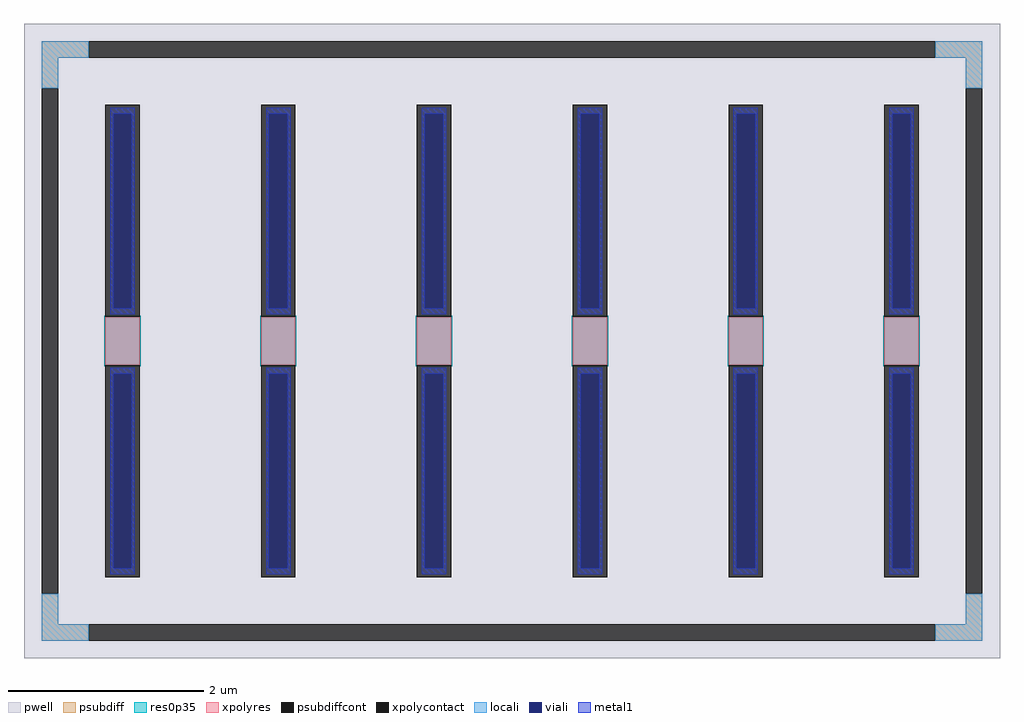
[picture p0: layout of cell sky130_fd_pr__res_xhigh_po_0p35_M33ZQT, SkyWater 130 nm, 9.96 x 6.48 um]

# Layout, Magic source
magic
tech sky130B
magscale 1 2
<< pwell >>
rect -996 -648 996 648
<< psubdiff >>
rect -960 578 -864 612
rect 864 578 960 612
rect -960 516 -926 578
rect 926 516 960 578
rect -960 -578 -926 -516
rect 926 -578 960 -516
rect -960 -612 -864 -578
rect 864 -612 960 -578
<< psubdiffcont >>
rect -864 578 864 612
rect -960 -516 -926 516
rect 926 -516 960 516
rect -864 -612 864 -578
<< xpolycontact >>
rect -830 50 -760 482
rect -830 -482 -760 -50
rect -512 50 -442 482
rect -512 -482 -442 -50
rect -194 50 -124 482
rect -194 -482 -124 -50
rect 124 50 194 482
rect 124 -482 194 -50
rect 442 50 512 482
rect 442 -482 512 -50
rect 760 50 830 482
rect 760 -482 830 -50
<< xpolyres >>
rect -830 -50 -760 50
rect -512 -50 -442 50
rect -194 -50 -124 50
rect 124 -50 194 50
rect 442 -50 512 50
rect 760 -50 830 50
<< locali >>
rect -960 578 -864 612
rect 864 578 960 612
rect -960 516 -926 578
rect 926 516 960 578
rect -960 -578 -926 -516
rect 926 -578 960 -516
rect -960 -612 -864 -578
rect 864 -612 960 -578
<< viali >>
rect -814 67 -776 464
rect -496 67 -458 464
rect -178 67 -140 464
rect 140 67 178 464
rect 458 67 496 464
rect 776 67 814 464
rect -814 -464 -776 -67
rect -496 -464 -458 -67
rect -178 -464 -140 -67
rect 140 -464 178 -67
rect 458 -464 496 -67
rect 776 -464 814 -67
<< metal1 >>
rect -820 464 -770 476
rect -820 67 -814 464
rect -776 67 -770 464
rect -820 55 -770 67
rect -502 464 -452 476
rect -502 67 -496 464
rect -458 67 -452 464
rect -502 55 -452 67
rect -184 464 -134 476
rect -184 67 -178 464
rect -140 67 -134 464
rect -184 55 -134 67
rect 134 464 184 476
rect 134 67 140 464
rect 178 67 184 464
rect 134 55 184 67
rect 452 464 502 476
rect 452 67 458 464
rect 496 67 502 464
rect 452 55 502 67
rect 770 464 820 476
rect 770 67 776 464
rect 814 67 820 464
rect 770 55 820 67
rect -820 -67 -770 -55
rect -820 -464 -814 -67
rect -776 -464 -770 -67
rect -820 -476 -770 -464
rect -502 -67 -452 -55
rect -502 -464 -496 -67
rect -458 -464 -452 -67
rect -502 -476 -452 -464
rect -184 -67 -134 -55
rect -184 -464 -178 -67
rect -140 -464 -134 -67
rect -184 -476 -134 -464
rect 134 -67 184 -55
rect 134 -464 140 -67
rect 178 -464 184 -67
rect 134 -476 184 -464
rect 452 -67 502 -55
rect 452 -464 458 -67
rect 496 -464 502 -67
rect 452 -476 502 -464
rect 770 -67 820 -55
rect 770 -464 776 -67
rect 814 -464 820 -67
rect 770 -476 820 -464
<< res0p35 >>
rect -832 -52 -758 52
rect -514 -52 -440 52
rect -196 -52 -122 52
rect 122 -52 196 52
rect 440 -52 514 52
rect 758 -52 832 52
<< properties >>
string FIXED_BBOX -943 -595 943 595
string gencell sky130_fd_pr__res_xhigh_po_0p35
string library sky130
string parameters w 0.350 l 0.50 m 1 nx 6 wmin 0.350 lmin 0.50 rho 2000 val 3.932k dummy 0 dw 0.0 term 188.2 sterm 0.0 caplen 0 wmax 0.350 guard 1 glc 1 grc 1 gtc 1 gbc 1 compatible {sky130_fd_pr__res_xhigh_po_0p35  sky130_fd_pr__res_xhigh_po_0p69 sky130_fd_pr__res_xhigh_po_1p41  sky130_fd_pr__res_xhigh_po_2p85 sky130_fd_pr__res_xhigh_po_5p73} full_metal 1 n_guard 0 hv_guard 0 vias 1 viagb 0 viagt 0 viagl 0 viagr 0
<< end >>
